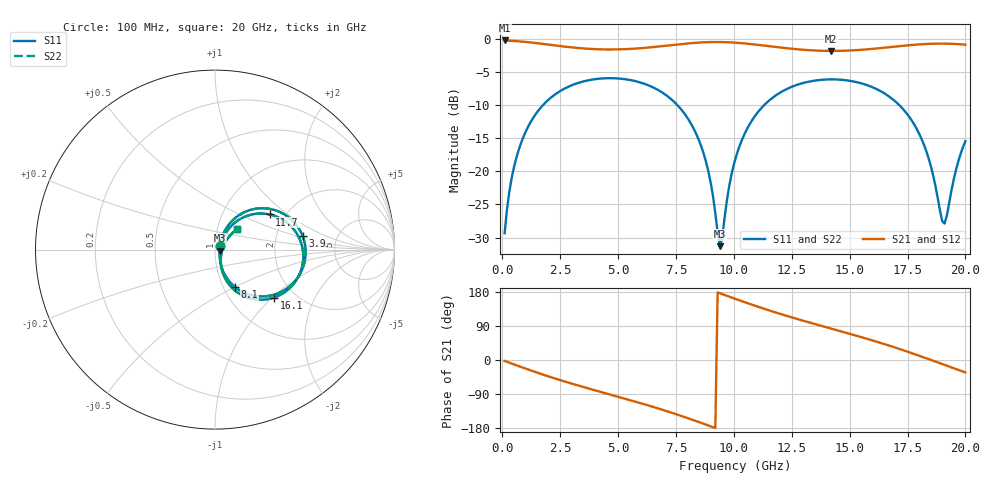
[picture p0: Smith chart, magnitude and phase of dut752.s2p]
! Touchstone file exported from HFSS 2026.1.0
!  File:  C:/ffzhzh/LocalFiles/Ansys_Project_Files/temp_train_TSV_RDL_752_1783206241_43440.aedt
!  Generated:  07:19:58 AM Jul  5, 2026
!  Design:  TSV_RDL
!  Project:  temp_train_TSV_RDL_752_1783206241_43440
! Variables:
!  h_bsmrdl = 2.91um
!  h_ox = 20um
!  h_rdl = 5um
!  h_sub = 94.39um
!  h_tmrdl = 4.93um
!  h_tsv = 94.39um
!  h_via = 3um
!  l_bsmrdl = 744.37um
!  l_sub = 6573.76um
!  l_tmrdl = 948.81um
!  m_sub = 200um
!  pitch = 50.78um
!  r_tsv = 6.62um
!  s_tmrdl = 10um
!  w_bsmrdl = 19.01um
!  w_sub = 500um
!  w_tmrdl = 29.46um
!  x_tsv_center1 = 963.54um
!  x_tsv_center2 = 1726.92um
!  x_tsv_center3 = 2705.19um
!  x_tsv_center4 = 3468.57um
!  x_tsv_center5 = 4446.84um
!  x_tsv_center6 = 5210.22um
# GHz S MA R 50.000000
! Terminal data exported
! Port[1] = TM_RDL1_1_T1
! Port[2] = TM_RDL5_1_T1
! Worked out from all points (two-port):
!   200 points, 100 MHz to 20 GHz, reference 50 ohm
!   highest |S21| = -0.23 dB at 100 MHz (marker M1); lowest = -1.8 dB at 14.2 GHz (marker M2)
!   |S21| within 3 dB of the highest: start of sweep to end of sweep
!   lowest |S11| = -31.3 dB at 9.4 GHz (marker M3), VSWR 1.06, Z = 52.7 - j0.547 ohm
!   |S11| at or under -10 dB: start of sweep to 1.758 GHz; 7.562 GHz to 11.31 GHz (3.748 GHz wide, 39.7 % of centre); 17.15 GHz to end of sweep
!   |S22| runs from -31.3 to -5.9 dB; largest |S21 - S12| = 1.7e-14
!   S11 on the Smith chart (normalised r, x): 100 MHz: 1.05, +0.04; 3.9 GHz: 2.82, +0.57; 8.1 GHz: 1.13, -0.50; 11.7 GHz: 1.67, +0.75; 16.1 GHz: 1.57, -1.02; 20 GHz: 1.25, +0.29
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0.1  0.03408 38.3  0.9739 -2.4  0.9739 -2.4  0.03408 38.3
! Gamma 0 0 0 0
! Port Impedance 50 0 50 0
0.5  0.1066 62.3  0.9651 -11.5  0.9651 -11.5  0.1066 62.3
1.1  0.2147 56.9  0.9458 -24.8  0.9458 -24.8  0.2147 56.9
2.1  0.3605 39.7  0.9011 -45.4  0.9011 -45.4  0.3605 39.7
3.5  0.4775 15.6  0.8477 -71.2  0.8477 -71.2  0.4775 15.6
3.9  0.4937 9.0  0.839 -78.2  0.839 -78.2  0.4937 9.0
5.3  0.4966 -13.7  0.8369 -102.1  0.8369 -102.1  0.4966 -13.7
6.8  0.4048 -39.0  0.8786 -129.1  0.8786 -129.1  0.4048 -39.0
8.1  0.237 -61.7  0.9277 -155.4  0.9277 -155.4  0.237 -61.7
8.9  0.09991 -69.5  0.9458 -172.8  0.9458 -172.8  0.09994 -69.4
9.4  0.02722 -11.0  0.9473 176.0  0.9473 176.0  0.02734 -11.0
10.1  0.13 56.9  0.936 160.5  0.936 160.5  0.13 56.8
10.8  0.2449 48.1  0.9122 145.5  0.9122 145.5  0.2449 48.0
11.7  0.3627 32.7  0.8739 127.4  0.8739 127.4  0.3626 32.7
13.4  0.4816 4.3  0.8195 96.6  0.8195 96.6  0.4816 4.3
14.2  0.495 -8.4  0.8121 82.9  0.8121 82.9  0.4949 -8.5
16.1  0.4234 -39.1  0.8447 49.6  0.8447 49.6  0.4234 -39.2
16.7  0.3682 -49.2  0.8657 38.1  0.8657 38.1  0.3681 -49.3
18.1  0.1768 -70.1  0.9118 9.2  0.9118 9.2  0.1767 -70.4
19.1  0.04034 -7.1  0.9215 -12.9  0.9215 -12.9  0.03934 -7.0
19.6  0.1036 42.0  0.9154 -24.0  0.9154 -24.0  0.1031 42.5
20  0.1692 42.5  0.9056 -32.8  0.9056 -32.8  0.1689 42.9
